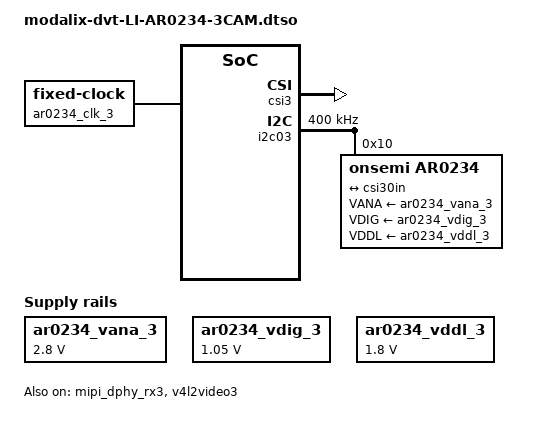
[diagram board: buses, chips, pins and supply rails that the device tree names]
// SPDX-License-Identifier: (GPL-2.0+ OR MIT)
/*
 * Copyright (c) 2026 SiMa ai
 */

/dts-v1/;
/plugin/;

&{/} {
    ar0234_vana_3: csi3_fixedregulator@0 {
        compatible = "regulator-fixed";
        regulator-name = "ar0234_vana_3";
        regulator-min-microvolt = <2800000>;
        regulator-max-microvolt = <2800000>;
        enable-active-high;
        startup-delay-us = <300000>;
        regulator-always-on;
    };
    ar0234_vdig_3: csi3_fixedregulator@1 {
        compatible = "regulator-fixed";
        regulator-name = "ar0234_vdig_3";
        regulator-min-microvolt = <1050000>;
        regulator-max-microvolt = <1050000>;
        regulator-always-on;
    };
    ar0234_vddl_3: csi3_fixedregulator@2 {
        compatible = "regulator-fixed";
        regulator-name = "ar0234_vddl_3";
        regulator-min-microvolt = <1800000>;
        regulator-max-microvolt = <1800000>;
        regulator-always-on;
    };
    ar0234_clk_3: csi3_camera-clk {
        compatible = "fixed-clock";
        #clock-cells = <0>;
        clock-frequency = <27000000>;
    };
};

&csi3 {
    status = "okay";
};

&axi_vdma3 {
    status = "okay";
};

&mipi_dphy_rx3 {
    status = "okay";
};

&v4l2video3 {
    status = "okay";
};

&v4l2vdma3 {
    status = "okay";
};

&csi30in{
    clock-lanes = <0>;
    data-lanes = <1 2>;
    link-frequencies = /bits/ 64 <270000000>;
    remote-endpoint = <&cam30out>;
    clock-continuous;
};

&i2c03 {
        status = "okay";
        clock-frequency = <400000>;
        #address-cells = <1>;
        #size-cells = <0>;

        ar0234: ar0234@10 {
                compatible = "onsemi,ar0234";
                reg = <0x10>;

                clocks = <&ar0234_clk_3>;
                clock-names = "xclk";

                VANA-supply = <&ar0234_vana_3>;
                VDIG-supply = <&ar0234_vdig_3>;
                VDDL-supply = <&ar0234_vddl_3>;

                port@1 {
                        cam30out: endpoint@0 {
                                clock-lanes = <0>;
                                data-lanes = <1 2>;
                                link-frequencies = /bits/ 64 <270000000>;
                                remote-endpoint = <&csi30in>;
                                clock-continuous;
                        };
                };
        };
};
